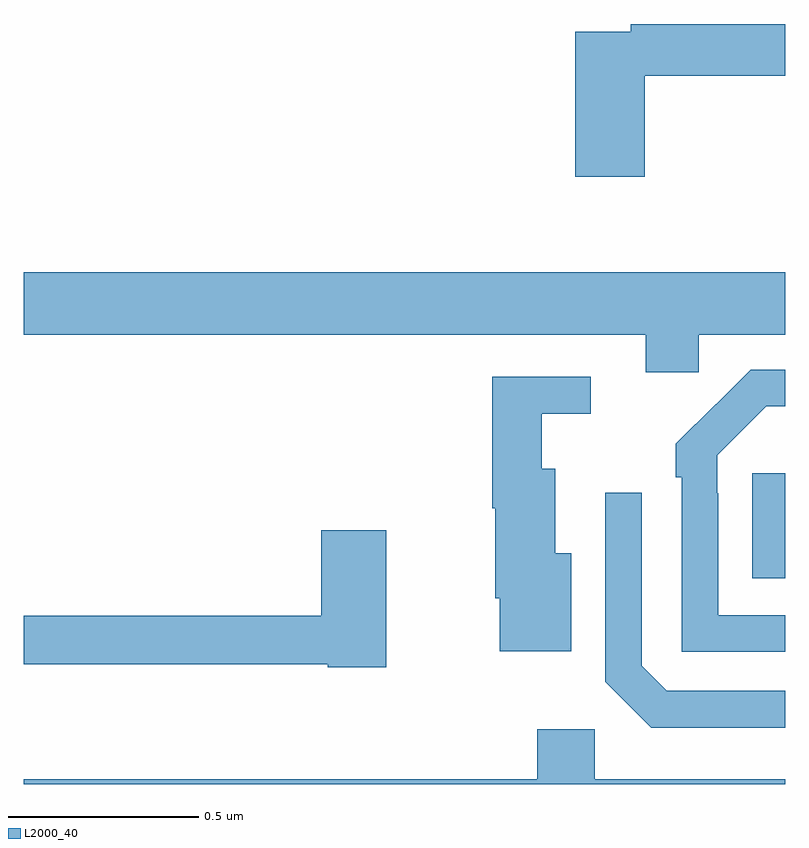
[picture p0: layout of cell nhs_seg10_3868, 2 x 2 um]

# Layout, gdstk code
import gdstk
lib = gdstk.Library(unit=1e-6, precision=1e-09)
def R(c, l, rs):  # rectangles x0, y0, x1, y1
    for r in rs: c.add(gdstk.rectangle(r[:2], r[2:], *l))
def P(c, l, *ps):  # polygons
    for p in ps: c.add(gdstk.Polygon(p, *l))
L2000_40 = (2000, 40)

nhs_seg10_3868 = lib.new_cell('nhs_seg10_3868')
R(nhs_seg10_3868, L2000_40, [(160.913,1269.041,161,1269.316)])
P(nhs_seg10_3868, L2000_40, [(160.631,1270.36),(161,1270.36),(161,1270.496),(160.594,1270.496),(160.594,1270.476),(160.448,1270.476),(160.448,1270.095),(160.631,1270.095)],
  [(160.773,1269.68),(161,1269.68),(161,1269.844),(159,1269.844),(159,1269.68),(160.634,1269.68),(160.634,1269.582),(160.773,1269.582)],
  [(161,1268.943),(160.824,1268.943),(160.824,1269.263),(160.821,1269.263),(160.821,1269.363),(160.95,1269.492),(161,1269.492),(161,1269.588),(160.91,1269.588),(160.819,1269.497),(160.818,1269.498),(160.713,1269.393),(160.713,1269.305),(160.728,1269.305),(160.728,1268.847),(161,1268.847)],
  [(160.438,1269.106),(160.396,1269.106),(160.396,1269.328),(160.36,1269.328),(160.36,1269.473),(160.489,1269.473),(160.489,1269.57),(160.231,1269.57),(160.231,1269.224),(160.238,1269.224),(160.238,1268.988),(160.25,1268.988),(160.25,1268.849),(160.438,1268.849)],
  [(161,1268.745),(160.689,1268.745),(160.623,1268.811),(160.623,1269.265),(160.527,1269.265),(160.527,1268.769),(160.648,1268.648),(161,1268.648)],
  [(159.952,1269.166),(159.782,1269.166),(159.782,1268.942),(159,1268.942),(159,1268.814),(159.798,1268.814),(159.798,1268.806),(159.952,1268.806)],
  [(161,1268.512),(160.5,1268.512),(160.5,1268.644),(160.349,1268.644),(160.349,1268.512),(159,1268.512),(159,1268.5),(161,1268.5)])

lib.write_gds('nhs_seg10_3868.gds')
